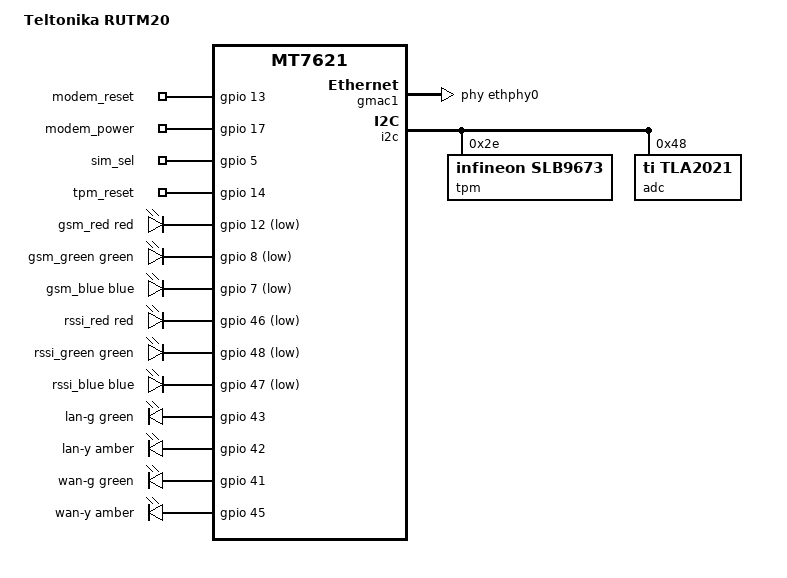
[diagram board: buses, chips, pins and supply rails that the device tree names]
// SPDX-License-Identifier: GPL-2.0-or-later OR MIT

#include "mt7621_teltonika_rutm-common.dtsi"
#include "mt7621_teltonika_rutm-wifi.dtsi"

/ {
	compatible = "teltonika,rutm20", "mediatek,mt7621-soc";
	model = "Teltonika RUTM20";

	gpio-export {
		compatible = "gpio-export";
		#size-cells = <0>;

		gpio_modem_reset {
			gpio-export,name = "modem_reset";
			gpio-export,output = <0>;
			gpios = <&gpio 13 GPIO_ACTIVE_HIGH>;
		};

		gpio_modem_power {
			gpio-export,name = "modem_power";
			gpio-export,output = <0>;
			gpios = <&gpio 17 GPIO_ACTIVE_HIGH>;
		};

		gpio_sim_select {
			gpio-export,name = "sim_sel";
			gpio-export,output = <0>;
			gpios = <&gpio 5 GPIO_ACTIVE_HIGH>;
		};

		gpio_tpm_reset {
			gpio-export,name = "tpm_reset";
			gpio-export,output = <1>;
			gpios = <&gpio 14 GPIO_ACTIVE_HIGH>;
		};
	};

	leds {
		gsm_red {
			function = LED_FUNCTION_MOBILE;
			color = <LED_COLOR_ID_RED>;
			gpios = <&gpio 12 GPIO_ACTIVE_LOW>;
		};

		gsm_green {
			function = LED_FUNCTION_MOBILE;
			color = <LED_COLOR_ID_GREEN>;
			gpios = <&gpio 8 GPIO_ACTIVE_LOW>;
		};

		gsm_blue {
			function = LED_FUNCTION_MOBILE;
			color = <LED_COLOR_ID_BLUE>;
			gpios = <&gpio 7 GPIO_ACTIVE_LOW>;
		};

		rssi_red {
			function = "rssi";
			color = <LED_COLOR_ID_RED>;
			gpios = <&gpio 46 GPIO_ACTIVE_LOW>;
		};

		rssi_green {
			function = "rssi";
			color = <LED_COLOR_ID_GREEN>;
			gpios = <&gpio 48 GPIO_ACTIVE_LOW>;
		};

		rssi_blue {
			function = "rssi";
			color = <LED_COLOR_ID_BLUE>;
			gpios = <&gpio 47 GPIO_ACTIVE_LOW>;
		};

		lan-g {
			function = LED_FUNCTION_LAN;
			color = <LED_COLOR_ID_GREEN>;
			gpios = <&gpio 43 GPIO_ACTIVE_HIGH>;
			linux,default-trigger = "mt7530-0:01:1Gbps";
		};

		lan-y {
			function = LED_FUNCTION_LAN;
			color = <LED_COLOR_ID_AMBER>;
			gpios = <&gpio 42 GPIO_ACTIVE_HIGH>;
			linux,default-trigger = "mt7530-0:01:100Mbps";
		};

		wan-g {
			function = LED_FUNCTION_WAN;
			color = <LED_COLOR_ID_GREEN>;
			gpios = <&gpio 41 GPIO_ACTIVE_HIGH>;
			linux,default-trigger = "mt7530-0:00:1Gbps";
		};

		wan-y {
			function = LED_FUNCTION_WAN;
			color = <LED_COLOR_ID_AMBER>;
			gpios = <&gpio 45 GPIO_ACTIVE_HIGH>;
			linux,default-trigger = "mt7530-0:00:100Mbps";
		};
	};
};

&switch0 {
	ports {
		port@1 {
			status = "okay";
			label = "lan";
		};
	};
};

&gmac1 {
	phy-handle = <&ethphy0>;
};

&ethphy0 {
	/delete-property/ interrupts;
};

&i2c {
	status = "okay";

	tpm: tpm@2e {
		compatible = "infineon,slb9673";
		reg = <0x2e>;
		status = "okay";
	};

	adc@48 {
		compatible = "ti,tla2021";
		reg = <0x48>;
	};
};
